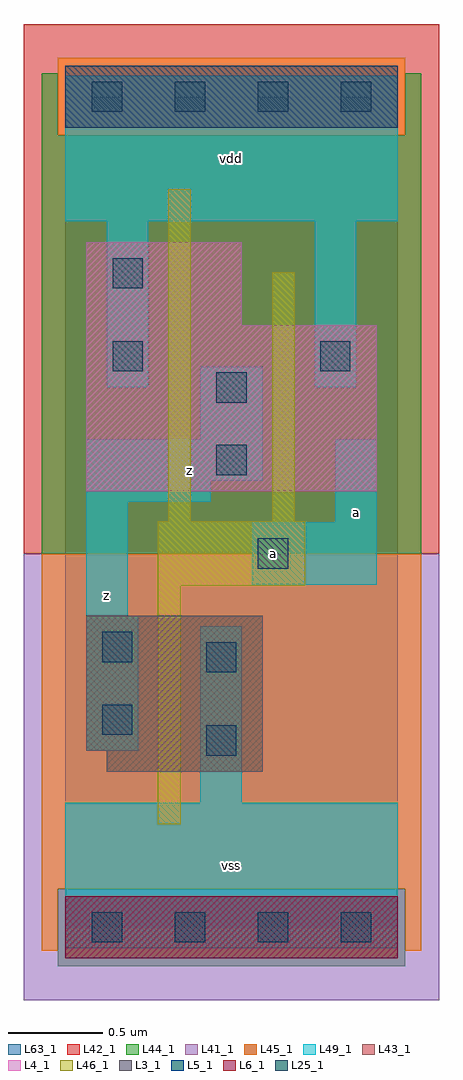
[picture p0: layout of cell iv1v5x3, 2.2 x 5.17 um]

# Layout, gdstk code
import gdstk
lib = gdstk.Library(unit=1e-6, precision=1e-09)
def R(c, l, rs):  # rectangles x0, y0, x1, y1
    for r in rs: c.add(gdstk.rectangle(r[:2], r[2:], *l))
def A(c, l, x, y, w, h, nx, ny, dx, dy):  # array of equal rectangles
    R(c, l, [(x+i*dx, y+j*dy, x+i*dx+w, y+j*dy+h) for i in range(nx) for j in range(ny)])
L3_1 = (3, 1)
L4_1 = (4, 1)
L5_1 = (5, 1)
L6_1 = (6, 1)
L25_1 = (25, 1)
L41_1 = (41, 1)
L42_1 = (42, 1)
L43_1 = (43, 1)
L44_1 = (44, 1)
L45_1 = (45, 1)
L46_1 = (46, 1)
L49_1 = (49, 1)
L63_1 = (63, 1)

iv1v5x3 = lib.new_cell('iv1v5x3')
R(iv1v5x3, L3_1, [(0.22,0.825,1.045,0.935), (0.11,0.935,1.045,1.65)])
R(iv1v5x3, L4_1, [(0.11,2.31,1.65,3.19), (0.11,3.19,0.935,3.63)])
R(iv1v5x3, L5_1, [(0,4.235,1.76,4.565)])
R(iv1v5x3, L6_1, [(0,-0.165,1.76,0.165)])
A(iv1v5x3, L25_1, 0.14, -0.08, 0.16, 0.16, 4, 2, 0.44, 4.4)
R(iv1v5x3, L25_1, [(0.745,0.91,0.905,1.07), (0.195,1.02,0.355,1.18), (0.745,1.35,0.905,1.51), (0.195,1.405,0.355,1.565), (1.02,1.9,1.18,2.06), (0.8,2.395,0.96,2.555), (0.8,2.78,0.96,2.94), (0.25,2.945,0.41,3.105), (1.35,2.945,1.51,3.105), (0.25,3.385,0.41,3.545)])
R(iv1v5x3, L41_1, [(-0.22,-0.385,1.98,1.98)])
R(iv1v5x3, L42_1, [(-0.22,1.98,1.98,4.785)])
R(iv1v5x3, L43_1, [(0,-0.165,1.76,0.165), (0.22,0.825,1.045,0.935), (0.11,0.935,1.045,1.65), (0.11,2.31,1.65,3.19), (0.11,3.19,0.935,3.63), (0,4.235,1.76,4.565)])
R(iv1v5x3, L44_1, [(-0.04,-0.205,1.8,0.205), (-0.125,1.98,1.885,4.195), (-0.125,4.195,-0.04,4.525), (1.8,4.195,1.885,4.525)])
R(iv1v5x3, L45_1, [(-0.125,-0.125,-0.04,0.205), (1.8,-0.125,1.885,0.205), (-0.125,0.205,1.885,1.98), (-0.04,4.195,1.8,4.605)])
R(iv1v5x3, L46_1, [(0.49,0.545,0.61,1.81), (0.49,1.81,1.27,2.15), (0.545,2.15,0.665,3.91), (1.095,2.15,1.215,3.47)])
R(iv1v5x3, L49_1, [(0,-0.11,1.76,0.66), (0.715,0.66,0.935,1.595), (0.11,0.935,0.385,1.65), (0.11,1.65,0.33,2.255), (0.99,1.815,1.65,2.145), (1.43,2.145,1.65,2.585), (0.11,2.255,0.77,2.365), (0.11,2.365,1.045,2.585), (0.715,2.585,1.045,2.97), (0.22,2.86,0.44,3.74), (1.32,2.86,1.54,3.74), (0,3.74,1.76,4.51)])
R(iv1v5x3, L63_1, [(0,0,1.76,4.4)])
iv1v5x3.add(gdstk.Label('z', (0.22,1.76), layer=49, texttype=1))
iv1v5x3.add(gdstk.Label('z', (0.66,2.42), layer=49, texttype=1))
iv1v5x3.add(gdstk.Label('vss', (0.88,0.33), layer=49, texttype=1))
iv1v5x3.add(gdstk.Label('a', (1.1,1.98), layer=49, texttype=1))
iv1v5x3.add(gdstk.Label('vdd', (0.88,4.07), layer=49, texttype=1))
iv1v5x3.add(gdstk.Label('a', (1.54,2.2), layer=49, texttype=1))

lib.write_gds('iv1v5x3.gds')
